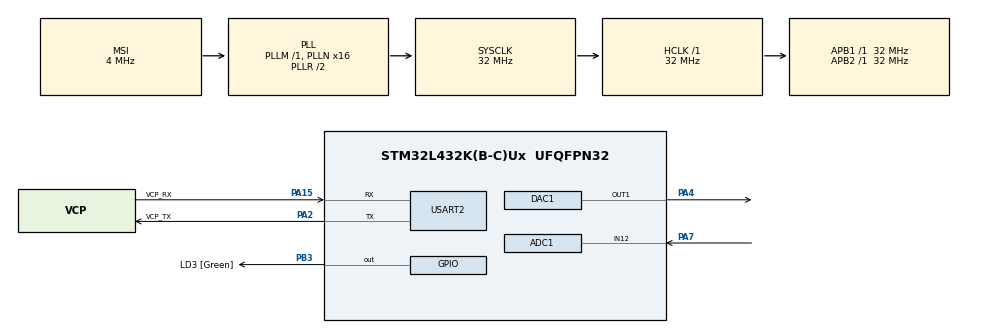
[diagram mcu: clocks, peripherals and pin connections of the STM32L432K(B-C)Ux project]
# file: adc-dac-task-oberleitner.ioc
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ADC1.Channel-2\#ChannelRegularConversion=ADC_CHANNEL_12
ADC1.ContinuousConvMode=ENABLE
ADC1.NbrOfConversionFlag=1
ADC1.OffsetNumber-2\#ChannelRegularConversion=ADC_OFFSET_NONE
ADC1.Rank-2\#ChannelRegularConversion=1
ADC1.SamplingTime-2\#ChannelRegularConversion=ADC_SAMPLETIME_2CYCLES_5
ADC1.master=1
Mcu.Family=STM32L4
Mcu.Name=STM32L432K(B-C)Ux
Mcu.Package=UFQFPN32
NVIC.PriorityGroup=NVIC_PRIORITYGROUP_4
NVIC.TIM6_DAC_IRQn=true\:0\:0\:false\:false\:true\:true\:true\:true
PA0.GPIO_Label=MCO [High speed clock in]
PA0.Mode=HSE-External-Clock-Source-for-LittleOrca
PA0.Signal=RCC_CK_IN
PA13\ (JTMS-SWDIO).GPIO_Label=SWDIO
PA13\ (JTMS-SWDIO).Mode=Serial_Wire
PA13\ (JTMS-SWDIO).Signal=SYS_JTMS-SWDIO
PA14\ (JTCK-SWCLK).GPIO_Label=SWCLK
PA14\ (JTCK-SWCLK).Mode=Serial_Wire
PA14\ (JTCK-SWCLK).Signal=SYS_JTCK-SWCLK
PA15\ (JTDI).GPIO_Label=VCP_RX
PA15\ (JTDI).Mode=Asynchronous
PA15\ (JTDI).Signal=USART2_RX
PA2.GPIO_Label=VCP_TX
PA2.Mode=Asynchronous
PA2.Signal=USART2_TX
PA4.Signal=COMP_DAC11_group
PA7.Signal=ADCx_IN12
PB3\ (JTDO-TRACESWO).GPIO_Label=LD3 [Green]
PB3\ (JTDO-TRACESWO).Signal=GPIO_Output
PC14-OSC32_IN\ (PC14).Mode=LSE-External-Oscillator
PC14-OSC32_IN\ (PC14).Signal=RCC_OSC32_IN
PC15-OSC32_OUT\ (PC15).Mode=LSE-External-Oscillator
PC15-OSC32_OUT\ (PC15).Signal=RCC_OSC32_OUT
ProjectManager.HeapSize=0x200
ProjectManager.StackSize=0x400
ProjectManager.TargetToolchain=STM32CubeIDE
RCC.ADCFreq_Value=32000000
RCC.AHBFreq_Value=32000000
RCC.APB1Freq_Value=32000000
RCC.APB1TimFreq_Value=32000000
RCC.APB2Freq_Value=32000000
RCC.APB2TimFreq_Value=32000000
RCC.CortexFreq_Value=32000000
RCC.HCLKFreq_Value=32000000
RCC.HSE_VALUE=8000000
RCC.HSI16_VALUE=16000000
RCC.HSI48_VALUE=48000000
RCC.HSI_VALUE=16000000
RCC.MSI_VALUE=4000000
RCC.PLLMUL=RCC_PLLMUL_4
RCC.PLLN=16
RCC.PLLSAI1N=16
RCC.SYSCLKFreq_VALUE=32000000
RCC.SYSCLKSource=RCC_SYSCLKSOURCE_PLLCLK
RCC.USBFreq_Value=32000000
RCC.VCOOutputFreq_Value=64000000
SH.ADCx_IN12.0=ADC1_IN12,IN12-Single-Ended
SH.COMP_DAC11_group.0=DAC1_OUT1,DAC_OUT1
TIM6.AutoReloadPreload=TIM_AUTORELOAD_PRELOAD_ENABLE
TIM6.Period=65535
TIM6.Prescaler=5
USART2.VirtualMode-Asynchronous=VM_ASYNC
VP_TIM6_VS_ClockSourceINT.Mode=Enable_Timer
board=NUCLEO-L432KC

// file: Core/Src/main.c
/* USER CODE BEGIN Header */
/**
  ******************************************************************************
  * @file           : main.c
  * @brief          : Main program body
  * @author 		: David Oberleitner
  ******************************************************************************
  * @attention
  *
  * Copyright (c) 2023 STMicroelectronics.
  * All rights reserved.
  *
  * This software is licensed under terms that can be found in the LICENSE file
  * in the root directory of this software component.
  * If no LICENSE file comes with this software, it is provided AS-IS.
  *
  ******************************************************************************
  */
/* USER CODE END Header */
#include "main.h"

/* USER CODE BEGIN Includes */
#include <stdio.h>

/* USER CODE END Includes */

/* USER CODE BEGIN PTD */
#define PRESCALER_TIM6 5

#define IN_MIN 0										// Input values for "map" function
#define IN_MAX 4095
#define OUT_MIN 700
#define OUT_MAX 1400

/* USER CODE END PTD */

ADC_HandleTypeDef hadc1;

DAC_HandleTypeDef hdac1;

TIM_HandleTypeDef htim6;

UART_HandleTypeDef huart2;

void SystemClock_Config(void);
static void MX_GPIO_Init(void);
static void MX_USART2_UART_Init(void);
static void MX_TIM6_Init(void);
static void MX_DAC1_Init(void);
static void MX_ADC1_Init(void);
/* USER CODE BEGIN PFP */
uint32_t map(uint32_t x, uint32_t in_min, uint32_t in_max, uint32_t out_min, uint32_t out_max);

/* USER CODE END PFP */

int main(void)
{

  /* MCU Configuration--------------------------------------------------------*/

  /* Reset of all peripherals, Initializes the Flash interface and the Systick. */
  HAL_Init();

  /* Configure the system clock */
  SystemClock_Config();

  /* Initialize all configured peripherals */
  MX_GPIO_Init();
  MX_USART2_UART_Init();
  MX_TIM6_Init();
  MX_DAC1_Init();
  MX_ADC1_Init();
  /* USER CODE BEGIN 2 */

   HAL_ADC_Start(&hadc1);
   HAL_TIM_Base_Start_IT(&htim6);

  /* USER CODE END 2 */

  /* Infinite loop */
  while (1)
  {

  }
}

void SystemClock_Config(void)
{
  RCC_OscInitTypeDef RCC_OscInitStruct = {0};
  RCC_ClkInitTypeDef RCC_ClkInitStruct = {0};

  /** Configure the main internal regulator output voltage
  */
  if (HAL_PWREx_ControlVoltageScaling(PWR_REGULATOR_VOLTAGE_SCALE1) != HAL_OK)
  {
    Error_Handler();
  }

  /** Configure LSE Drive Capability
  */
  HAL_PWR_EnableBkUpAccess();
  __HAL_RCC_LSEDRIVE_CONFIG(RCC_LSEDRIVE_LOW);

  /** Initializes the RCC Oscillators according to the specified parameters
  * in the RCC_OscInitTypeDef structure.
  */
  RCC_OscInitStruct.OscillatorType = RCC_OSCILLATORTYPE_LSE|RCC_OSCILLATORTYPE_MSI;
  RCC_OscInitStruct.LSEState = RCC_LSE_ON;
  RCC_OscInitStruct.MSIState = RCC_MSI_ON;
  RCC_OscInitStruct.MSICalibrationValue = 0;
  RCC_OscInitStruct.MSIClockRange = RCC_MSIRANGE_6;
  RCC_OscInitStruct.PLL.PLLState = RCC_PLL_ON;
  RCC_OscInitStruct.PLL.PLLSource = RCC_PLLSOURCE_MSI;
  RCC_OscInitStruct.PLL.PLLM = 1;
  RCC_OscInitStruct.PLL.PLLN = 16;
  RCC_OscInitStruct.PLL.PLLP = RCC_PLLP_DIV7;
  RCC_OscInitStruct.PLL.PLLQ = RCC_PLLQ_DIV2;
  RCC_OscInitStruct.PLL.PLLR = RCC_PLLR_DIV2;
  if (HAL_RCC_OscConfig(&RCC_OscInitStruct) != HAL_OK)
  {
    Error_Handler();
  }

  /** Initializes the CPU, AHB and APB buses clocks
  */
  RCC_ClkInitStruct.ClockType = RCC_CLOCKTYPE_HCLK|RCC_CLOCKTYPE_SYSCLK
                              |RCC_CLOCKTYPE_PCLK1|RCC_CLOCKTYPE_PCLK2;
  RCC_ClkInitStruct.SYSCLKSource = RCC_SYSCLKSOURCE_PLLCLK;
  RCC_ClkInitStruct.AHBCLKDivider = RCC_SYSCLK_DIV1;
  RCC_ClkInitStruct.APB1CLKDivider = RCC_HCLK_DIV1;
  RCC_ClkInitStruct.APB2CLKDivider = RCC_HCLK_DIV1;

  if (HAL_RCC_ClockConfig(&RCC_ClkInitStruct, FLASH_LATENCY_1) != HAL_OK)
  {
    Error_Handler();
  }

  /** Enable MSI Auto calibration
  */
  HAL_RCCEx_EnableMSIPLLMode();
}

static void MX_ADC1_Init(void)
{

  ADC_ChannelConfTypeDef sConfig = {0};

  /** Common config
  */
  hadc1.Instance = ADC1;
  hadc1.Init.ClockPrescaler = ADC_CLOCK_ASYNC_DIV1;
  hadc1.Init.Resolution = ADC_RESOLUTION_12B;
  hadc1.Init.DataAlign = ADC_DATAALIGN_RIGHT;
  hadc1.Init.ScanConvMode = ADC_SCAN_DISABLE;
  hadc1.Init.EOCSelection = ADC_EOC_SINGLE_CONV;
  hadc1.Init.LowPowerAutoWait = DISABLE;
  hadc1.Init.ContinuousConvMode = ENABLE;
  hadc1.Init.NbrOfConversion = 1;
  hadc1.Init.DiscontinuousConvMode = DISABLE;
  hadc1.Init.ExternalTrigConv = ADC_SOFTWARE_START;
  hadc1.Init.ExternalTrigConvEdge = ADC_EXTERNALTRIGCONVEDGE_NONE;
  hadc1.Init.DMAContinuousRequests = DISABLE;
  hadc1.Init.Overrun = ADC_OVR_DATA_PRESERVED;
  hadc1.Init.OversamplingMode = DISABLE;
  if (HAL_ADC_Init(&hadc1) != HAL_OK)
  {
    Error_Handler();
  }

  /** Configure Regular Channel
  */
  sConfig.Channel = ADC_CHANNEL_12;
  sConfig.Rank = ADC_REGULAR_RANK_1;
  sConfig.SamplingTime = ADC_SAMPLETIME_2CYCLES_5;
  sConfig.SingleDiff = ADC_SINGLE_ENDED;
  sConfig.OffsetNumber = ADC_OFFSET_NONE;
  sConfig.Offset = 0;
  if (HAL_ADC_ConfigChannel(&hadc1, &sConfig) != HAL_OK)
  {
    Error_Handler();
  }

}

static void MX_DAC1_Init(void)
{

  DAC_ChannelConfTypeDef sConfig = {0};

  /** DAC Initialization
  */
  hdac1.Instance = DAC1;
  if (HAL_DAC_Init(&hdac1) != HAL_OK)
  {
    Error_Handler();
  }

  /** DAC channel OUT1 config
  */
  sConfig.DAC_SampleAndHold = DAC_SAMPLEANDHOLD_DISABLE;
  sConfig.DAC_Trigger = DAC_TRIGGER_NONE;
  sConfig.DAC_OutputBuffer = DAC_OUTPUTBUFFER_ENABLE;
  sConfig.DAC_ConnectOnChipPeripheral = DAC_CHIPCONNECT_DISABLE;
  sConfig.DAC_UserTrimming = DAC_TRIMMING_FACTORY;
  if (HAL_DAC_ConfigChannel(&hdac1, &sConfig, DAC_CHANNEL_1) != HAL_OK)
  {
    Error_Handler();
  }

}

static void MX_TIM6_Init(void)
{

  TIM_MasterConfigTypeDef sMasterConfig = {0};

  htim6.Instance = TIM6;
  htim6.Init.Prescaler = PRESCALER_TIM6;
  htim6.Init.CounterMode = TIM_COUNTERMODE_UP;
  htim6.Init.Period = 65535;
  htim6.Init.AutoReloadPreload = TIM_AUTORELOAD_PRELOAD_ENABLE;
  if (HAL_TIM_Base_Init(&htim6) != HAL_OK)
  {
    Error_Handler();
  }
  sMasterConfig.MasterOutputTrigger = TIM_TRGO_RESET;
  sMasterConfig.MasterSlaveMode = TIM_MASTERSLAVEMODE_DISABLE;
  if (HAL_TIMEx_MasterConfigSynchronization(&htim6, &sMasterConfig) != HAL_OK)
  {
    Error_Handler();
  }

}

static void MX_USART2_UART_Init(void)
{

  huart2.Instance = USART2;
  huart2.Init.BaudRate = 115200;
  huart2.Init.WordLength = UART_WORDLENGTH_8B;
  huart2.Init.StopBits = UART_STOPBITS_1;
  huart2.Init.Parity = UART_PARITY_NONE;
  huart2.Init.Mode = UART_MODE_TX_RX;
  huart2.Init.HwFlowCtl = UART_HWCONTROL_NONE;
  huart2.Init.OverSampling = UART_OVERSAMPLING_16;
  huart2.Init.OneBitSampling = UART_ONE_BIT_SAMPLE_DISABLE;
  huart2.AdvancedInit.AdvFeatureInit = UART_ADVFEATURE_NO_INIT;
  if (HAL_UART_Init(&huart2) != HAL_OK)
  {
    Error_Handler();
  }

}

static void MX_GPIO_Init(void)
{
  GPIO_InitTypeDef GPIO_InitStruct = {0};

  /* GPIO Ports Clock Enable */
  __HAL_RCC_GPIOC_CLK_ENABLE();
  __HAL_RCC_GPIOA_CLK_ENABLE();
  __HAL_RCC_GPIOB_CLK_ENABLE();

  /*Configure GPIO pin Output Level */
  HAL_GPIO_WritePin(LD3_GPIO_Port, LD3_Pin, GPIO_PIN_RESET);

  /*Configure GPIO pin : LD3_Pin */
  GPIO_InitStruct.Pin = LD3_Pin;
  GPIO_InitStruct.Mode = GPIO_MODE_OUTPUT_PP;
  GPIO_InitStruct.Pull = GPIO_NOPULL;
  GPIO_InitStruct.Speed = GPIO_SPEED_FREQ_LOW;
  HAL_GPIO_Init(LD3_GPIO_Port, &GPIO_InitStruct);

}

/* USER CODE BEGIN 4 */
/**
 * @brief 	HAL timer callback function. Reads ADC value from poti, calls mapping function and sets DAC value for LED.
 * @param 	htim: pointer to the TIM handle
 * @retval 	None
 */
void HAL_TIM_PeriodElapsedCallback(TIM_HandleTypeDef *htim) {

//	char uart_adc[30];													// Commented out: Code using UART to show ADC value in a terminal program.
//	int uart_adc_len;													// Used to find out which range of values to map and use as minimum/maximum.
	if (htim == &htim6) {
		HAL_ADC_Start(&hadc1);
		uint32_t value = HAL_ADC_GetValue(&hadc1);

//		uart_adc_len = sprintf(uart_adc, "ADC: %d\r\n", (int) value);
//		HAL_UART_Transmit(&huart2, (uint8_t *) uart_adc, uart_adc_len, 100);

		value = map(value, IN_MIN, IN_MAX, OUT_MIN, OUT_MAX);
		HAL_DAC_SetValue(&hdac1, DAC_CHANNEL_1, DAC_ALIGN_12B_R, value);
		HAL_DAC_Start(&hdac1, DAC_CHANNEL_1);
		HAL_ADC_Stop(&hadc1);
	}
}

/**
 * @brief 	Mapping function, maps value from input min/max to output min/max.
 * @param 	x: Value to be mapped from input scale to output scale.
 * @param	in_min: Minimum value of input scale.
 * @param 	in_max: Maximum value of input scale.
 * @param	out_in: Minimum value of output scale.
 * @param 	out_max: Maximum value of output scale.
 * @retval	Value on output scale.
 */
uint32_t map(uint32_t x, uint32_t in_min, uint32_t in_max, uint32_t out_min, uint32_t out_max) {
	return (x - in_min) * (out_max - out_min) / (in_max - in_min) + out_min;						// uint32_t necessary for calculation
}
/* USER CODE END 4 */

void Error_Handler(void)
{
  __disable_irq();
  while (1)
  {
  }
}
